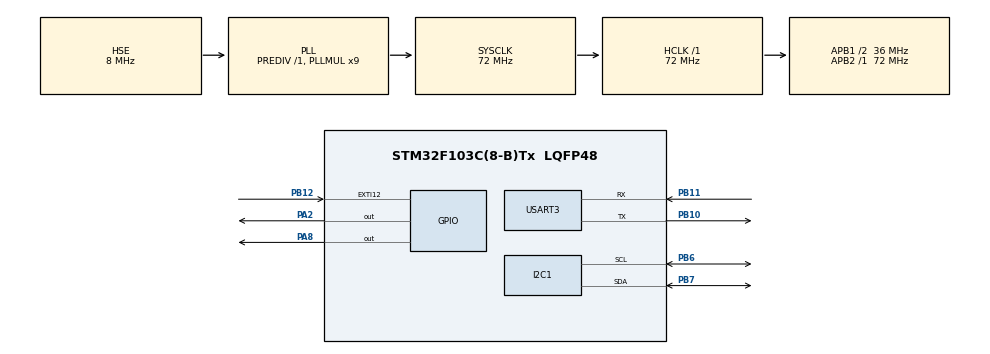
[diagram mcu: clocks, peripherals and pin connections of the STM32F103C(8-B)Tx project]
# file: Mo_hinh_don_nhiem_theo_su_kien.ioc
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Mcu.Family=STM32F1
Mcu.Name=STM32F103C(8-B)Tx
Mcu.Package=LQFP48
NVIC.EXTI15_10_IRQn=true\:0\:0\:false\:false\:true\:true\:true\:true
NVIC.PriorityGroup=NVIC_PRIORITYGROUP_4
NVIC.TIM2_IRQn=true\:0\:0\:false\:false\:true\:true\:true\:true
NVIC.USART3_IRQn=true\:0\:0\:false\:false\:true\:true\:true\:true
PA13.Mode=Serial_Wire
PA13.Signal=SYS_JTMS-SWDIO
PA14.Mode=Serial_Wire
PA14.Signal=SYS_JTCK-SWCLK
PA2.Signal=GPIO_Output
PA8.Signal=GPIO_Output
PB10.Mode=Asynchronous
PB10.Signal=USART3_TX
PB11.Mode=Asynchronous
PB11.Signal=USART3_RX
PB12.GPIO_ModeDefaultEXTI=GPIO_MODE_IT_RISING_FALLING
PB12.Signal=GPXTI12
PB6.Mode=I2C
PB6.Signal=I2C1_SCL
PB7.Mode=I2C
PB7.Signal=I2C1_SDA
PD0-OSC_IN.Mode=HSE-External-Oscillator
PD0-OSC_IN.Signal=RCC_OSC_IN
PD1-OSC_OUT.Mode=HSE-External-Oscillator
PD1-OSC_OUT.Signal=RCC_OSC_OUT
ProjectManager.HeapSize=0x200
ProjectManager.StackSize=0x400
ProjectManager.TargetToolchain=STM32CubeIDE
RCC.AHBFreq_Value=72000000
RCC.APB1CLKDivider=RCC_HCLK_DIV2
RCC.APB1Freq_Value=36000000
RCC.APB1TimFreq_Value=72000000
RCC.APB2Freq_Value=72000000
RCC.APB2TimFreq_Value=72000000
RCC.HCLKFreq_Value=72000000
RCC.PLLMUL=RCC_PLL_MUL9
RCC.PLLSourceVirtual=RCC_PLLSOURCE_HSE
RCC.SYSCLKFreq_VALUE=72000000
RCC.SYSCLKSource=RCC_SYSCLKSOURCE_PLLCLK
RCC.USBFreq_Value=72000000
TIM1.Period=29999
TIM1.Prescaler=63
TIM2.Period=2999
TIM2.Prescaler=7199
USART3.VirtualMode=VM_ASYNC
VP_TIM1_VS_ClockSourceINT.Mode=Internal
VP_TIM2_VS_ClockSourceINT.Mode=Internal
board=custom

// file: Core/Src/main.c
/* USER CODE BEGIN Header */
/**
  ******************************************************************************
  * @file           : main.c
  * @brief          : Main program body
  ******************************************************************************
  * @attention
  *
  * Copyright (c) 2025 STMicroelectronics.
  * All rights reserved.
  *
  * This software is licensed under terms that can be found in the LICENSE file
  * in the root directory of this software component.
  * If no LICENSE file comes with this software, it is provided AS-IS.
  *
  ******************************************************************************
  */
/* USER CODE END Header */
#include "main.h"

/* USER CODE BEGIN Includes */
#include <stdio.h>
#include <stdint.h>
#include <string.h>
#include "dht22.h"
#include "I2C_LCD.h"
#include "stdio.h"
#include "hcsr04.h"
/* USER CODE END Includes */

/* USER CODE BEGIN PD */
#define MyI2C_LCD I2C_LCD_1
/* USER CODE END PD */

I2C_HandleTypeDef hi2c1;

TIM_HandleTypeDef htim1;
TIM_HandleTypeDef htim2;

UART_HandleTypeDef huart3;

/* USER CODE BEGIN PV */
char buf1[16],buf2[16]; // 1 dòng LCD chỉ có 16 ký tự
float T,H;
int time_offset = 100, i=0, interprut = 0;
uint8_t RX_data;
int start =0,LCD_print_wait=0;
uint32_t count=0;
/* USER CODE END PV */

void SystemClock_Config(void);
static void MX_GPIO_Init(void);
static void MX_USART3_UART_Init(void);
static void MX_I2C1_Init(void);
static void MX_TIM1_Init(void);
static void MX_TIM2_Init(void);

/* USER CODE BEGIN 0 */
#ifdef	__GNUC__
		#define PUTCHAR_PROTOTYPE int	__io_putchar(int ch)
#else
		#define PUTCHAR_PROTOTYPE int fputc(int ch, FILE *f)
#endif
 PUTCHAR_PROTOTYPE
{
	HAL_UART_Transmit(&huart3, (uint8_t *)&ch,1,0xFFFF);
	return ch;
}
 void SPTTS_Task1(void){
	 if (hc04_state == HCSR04_IDLE_STATE) {
	 	HCSR04_Start();
	 }
	 HCSR04_Handle();
	 sprintf(buf1,"D = %.1f cm", hcsr04_distance);
	 sprintf(buf2,"T=%.1f,H=%.1f", T,H);
	 I2C_LCD_Clear(MyI2C_LCD);
	 I2C_LCD_SetCursor(MyI2C_LCD, 0, 0);
	 I2C_LCD_WriteString(MyI2C_LCD, buf1);
	 I2C_LCD_SetCursor(MyI2C_LCD, 0, 1);
	 I2C_LCD_WriteString(MyI2C_LCD, buf2);
	 printf("D = %.1f\r\n",hcsr04_distance);
 }
 void SPTTS_Task2(void){
 	DHT22_Get_Humidity(&H);
 	sprintf(buf1,"D = %.1f cm", hcsr04_distance);
 	sprintf(buf2,"T=%.1f,H=%.1f", T,H);
 	I2C_LCD_SetCursor(MyI2C_LCD, 0, 0);
 	I2C_LCD_Clear(MyI2C_LCD);
 	I2C_LCD_WriteString(MyI2C_LCD, buf1);
 	I2C_LCD_SetCursor(MyI2C_LCD, 0, 11);
 	I2C_LCD_WriteString(MyI2C_LCD, buf2);
	printf("H = %.1f\r\n",H);
  }
 void SPTTS_Task3(void){
	 DHT22_Get_Temp(&T);
	 sprintf(buf1,"D = %.1f cm", hcsr04_distance);
	 sprintf(buf2,"T=%.1f,H=%.1f", T,H);
	 I2C_LCD_Clear(MyI2C_LCD);
	 I2C_LCD_SetCursor(MyI2C_LCD, 0, 0);
	 I2C_LCD_WriteString(MyI2C_LCD, buf1);
	 I2C_LCD_SetCursor(MyI2C_LCD, 0, 1);
	 I2C_LCD_WriteString(MyI2C_LCD, buf2);
	 printf("T = %.1f\r\n",T);
 }

/* USER CODE END 0 */

int main(void)
{

  /* MCU Configuration--------------------------------------------------------*/

  /* Reset of all peripherals, Initializes the Flash interface and the Systick. */
  HAL_Init();

  /* Configure the system clock */
  SystemClock_Config();

  /* Initialize all configured peripherals */
  MX_GPIO_Init();
  MX_USART3_UART_Init();
  MX_I2C1_Init();
  MX_TIM1_Init();
  MX_TIM2_Init();
  /* USER CODE BEGIN 2 */
  CoreDebug->DEMCR |= CoreDebug_DEMCR_TRCENA_Msk;
  DWT->CTRL |= DWT_CTRL_CYCCNTENA_Msk;
  // Bắt đầu Timer 2 ở chế độ ngắt
    HAL_TIM_Base_Start_IT(&htim2);
  dht22_init();
  HCSR04_Init(&htim1);
  I2C_LCD_Init(MyI2C_LCD);
  HAL_UART_Receive_IT(&huart3, &RX_data, 1);

  /* USER CODE END 2 */

  /* Infinite loop */
  while (1)
  {

    /* USER CODE BEGIN 3 */
	 if(start){
		 if(interprut){
			 i=count%3;
			 if(i==0){
				 SPTTS_Task1();
			 }
			 if(i==1){
				 SPTTS_Task2();
			 }
			 if(i==2){
				 SPTTS_Task3();
			 }
			 interprut = 0;
		 }

	  else {
		  if(!LCD_print_wait){
		  I2C_LCD_Clear(MyI2C_LCD);
		  I2C_LCD_SetCursor(MyI2C_LCD, 0, 0);
		  I2C_LCD_WriteString(MyI2C_LCD, "Send 1 to start");
		  LCD_print_wait = 1;
		  }
	  }
	 }
  }
  /* USER CODE END 3 */
}

void SystemClock_Config(void)
{
  RCC_OscInitTypeDef RCC_OscInitStruct = {0};
  RCC_ClkInitTypeDef RCC_ClkInitStruct = {0};

  /** Initializes the RCC Oscillators according to the specified parameters
  * in the RCC_OscInitTypeDef structure.
  */
  RCC_OscInitStruct.OscillatorType = RCC_OSCILLATORTYPE_HSE;
  RCC_OscInitStruct.HSEState = RCC_HSE_ON;
  RCC_OscInitStruct.HSEPredivValue = RCC_HSE_PREDIV_DIV1;
  RCC_OscInitStruct.HSIState = RCC_HSI_ON;
  RCC_OscInitStruct.PLL.PLLState = RCC_PLL_ON;
  RCC_OscInitStruct.PLL.PLLSource = RCC_PLLSOURCE_HSE;
  RCC_OscInitStruct.PLL.PLLMUL = RCC_PLL_MUL9;
  if (HAL_RCC_OscConfig(&RCC_OscInitStruct) != HAL_OK)
  {
    Error_Handler();
  }

  /** Initializes the CPU, AHB and APB buses clocks
  */
  RCC_ClkInitStruct.ClockType = RCC_CLOCKTYPE_HCLK|RCC_CLOCKTYPE_SYSCLK
                              |RCC_CLOCKTYPE_PCLK1|RCC_CLOCKTYPE_PCLK2;
  RCC_ClkInitStruct.SYSCLKSource = RCC_SYSCLKSOURCE_PLLCLK;
  RCC_ClkInitStruct.AHBCLKDivider = RCC_SYSCLK_DIV1;
  RCC_ClkInitStruct.APB1CLKDivider = RCC_HCLK_DIV2;
  RCC_ClkInitStruct.APB2CLKDivider = RCC_HCLK_DIV1;

  if (HAL_RCC_ClockConfig(&RCC_ClkInitStruct, FLASH_LATENCY_2) != HAL_OK)
  {
    Error_Handler();
  }
}

static void MX_I2C1_Init(void)
{

  hi2c1.Instance = I2C1;
  hi2c1.Init.ClockSpeed = 100000;
  hi2c1.Init.DutyCycle = I2C_DUTYCYCLE_2;
  hi2c1.Init.OwnAddress1 = 0;
  hi2c1.Init.AddressingMode = I2C_ADDRESSINGMODE_7BIT;
  hi2c1.Init.DualAddressMode = I2C_DUALADDRESS_DISABLE;
  hi2c1.Init.OwnAddress2 = 0;
  hi2c1.Init.GeneralCallMode = I2C_GENERALCALL_DISABLE;
  hi2c1.Init.NoStretchMode = I2C_NOSTRETCH_DISABLE;
  if (HAL_I2C_Init(&hi2c1) != HAL_OK)
  {
    Error_Handler();
  }

}

static void MX_TIM1_Init(void)
{

  TIM_ClockConfigTypeDef sClockSourceConfig = {0};
  TIM_MasterConfigTypeDef sMasterConfig = {0};

  htim1.Instance = TIM1;
  htim1.Init.Prescaler = 63;
  htim1.Init.CounterMode = TIM_COUNTERMODE_UP;
  htim1.Init.Period = 29999;
  htim1.Init.ClockDivision = TIM_CLOCKDIVISION_DIV1;
  htim1.Init.RepetitionCounter = 0;
  htim1.Init.AutoReloadPreload = TIM_AUTORELOAD_PRELOAD_DISABLE;
  if (HAL_TIM_Base_Init(&htim1) != HAL_OK)
  {
    Error_Handler();
  }
  sClockSourceConfig.ClockSource = TIM_CLOCKSOURCE_INTERNAL;
  if (HAL_TIM_ConfigClockSource(&htim1, &sClockSourceConfig) != HAL_OK)
  {
    Error_Handler();
  }
  sMasterConfig.MasterOutputTrigger = TIM_TRGO_RESET;
  sMasterConfig.MasterSlaveMode = TIM_MASTERSLAVEMODE_DISABLE;
  if (HAL_TIMEx_MasterConfigSynchronization(&htim1, &sMasterConfig) != HAL_OK)
  {
    Error_Handler();
  }

}

static void MX_TIM2_Init(void)
{

  TIM_ClockConfigTypeDef sClockSourceConfig = {0};
  TIM_MasterConfigTypeDef sMasterConfig = {0};

  htim2.Instance = TIM2;
  htim2.Init.Prescaler = 7199;
  htim2.Init.CounterMode = TIM_COUNTERMODE_UP;
  htim2.Init.Period = 1999;
  htim2.Init.ClockDivision = TIM_CLOCKDIVISION_DIV1;
  htim2.Init.AutoReloadPreload = TIM_AUTORELOAD_PRELOAD_DISABLE;
  if (HAL_TIM_Base_Init(&htim2) != HAL_OK)
  {
    Error_Handler();
  }
  sClockSourceConfig.ClockSource = TIM_CLOCKSOURCE_INTERNAL;
  if (HAL_TIM_ConfigClockSource(&htim2, &sClockSourceConfig) != HAL_OK)
  {
    Error_Handler();
  }
  sMasterConfig.MasterOutputTrigger = TIM_TRGO_RESET;
  sMasterConfig.MasterSlaveMode = TIM_MASTERSLAVEMODE_DISABLE;
  if (HAL_TIMEx_MasterConfigSynchronization(&htim2, &sMasterConfig) != HAL_OK)
  {
    Error_Handler();
  }

}

static void MX_USART3_UART_Init(void)
{

  huart3.Instance = USART3;
  huart3.Init.BaudRate = 115200;
  huart3.Init.WordLength = UART_WORDLENGTH_8B;
  huart3.Init.StopBits = UART_STOPBITS_1;
  huart3.Init.Parity = UART_PARITY_NONE;
  huart3.Init.Mode = UART_MODE_TX_RX;
  huart3.Init.HwFlowCtl = UART_HWCONTROL_NONE;
  huart3.Init.OverSampling = UART_OVERSAMPLING_16;
  if (HAL_UART_Init(&huart3) != HAL_OK)
  {
    Error_Handler();
  }

}

static void MX_GPIO_Init(void)
{
  GPIO_InitTypeDef GPIO_InitStruct = {0};

  /* GPIO Ports Clock Enable */
  __HAL_RCC_GPIOD_CLK_ENABLE();
  __HAL_RCC_GPIOA_CLK_ENABLE();
  __HAL_RCC_GPIOB_CLK_ENABLE();

  /*Configure GPIO pin Output Level */
  HAL_GPIO_WritePin(GPIOA, GPIO_PIN_2|GPIO_PIN_8, GPIO_PIN_RESET);

  /*Configure GPIO pins : PA2 PA8 */
  GPIO_InitStruct.Pin = GPIO_PIN_2|GPIO_PIN_8;
  GPIO_InitStruct.Mode = GPIO_MODE_OUTPUT_PP;
  GPIO_InitStruct.Pull = GPIO_NOPULL;
  GPIO_InitStruct.Speed = GPIO_SPEED_FREQ_LOW;
  HAL_GPIO_Init(GPIOA, &GPIO_InitStruct);

  /*Configure GPIO pin : PB12 */
  GPIO_InitStruct.Pin = GPIO_PIN_12;
  GPIO_InitStruct.Mode = GPIO_MODE_IT_RISING_FALLING;
  GPIO_InitStruct.Pull = GPIO_NOPULL;
  HAL_GPIO_Init(GPIOB, &GPIO_InitStruct);

  /* EXTI interrupt init*/
  HAL_NVIC_SetPriority(EXTI15_10_IRQn, 0, 0);
  HAL_NVIC_EnableIRQ(EXTI15_10_IRQn);

}

/* USER CODE BEGIN 4 */
void HAL_UART_RxCpltCallback(UART_HandleTypeDef *huart) {
    if (huart->Instance == huart3.Instance) {
    	switch (RX_data){
			case 48:
				start = 0; // Da nhan "0"
				LCD_print_wait = 0;
				break;
			case 49:
				start =1; // Da nhan "1"
				break;
			default:
				// Không hợp lệ, không thực hiện gì
				break;
    	 }
    	HAL_UART_Receive_IT(&huart3, &RX_data, 1);
    }
}
// Hàm xử lý ngắt Timer 1
void HAL_TIM_PeriodElapsedCallback(TIM_HandleTypeDef *htim) {
    if (htim->Instance == TIM2) {
    	printf("Da nhay vao ngat timer %ld %ld \r\n",count,uwTick);
        // Hành động khi xảy ra ngắt
        count +=1; // Biến đếm tăng thêm 1
        interprut =1;
    }
}
/* USER CODE END 4 */

void Error_Handler(void)
{
  __disable_irq();
  while (1)
  {
  }
}
